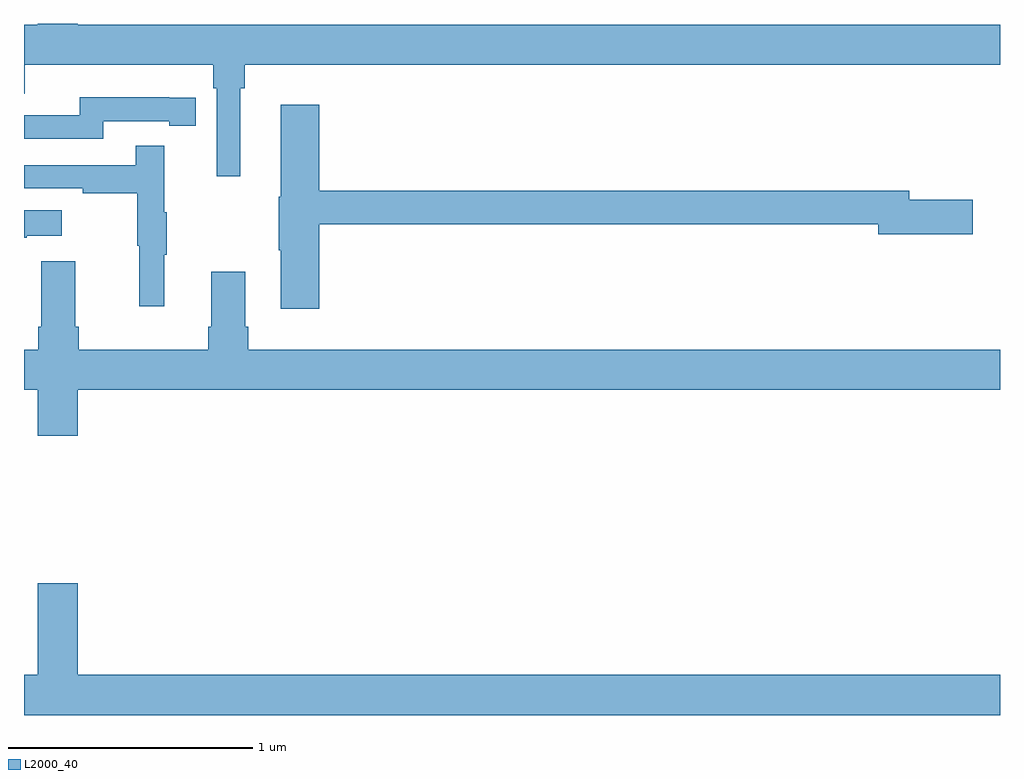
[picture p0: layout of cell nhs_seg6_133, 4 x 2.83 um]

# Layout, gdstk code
import gdstk
lib = gdstk.Library(unit=1e-6, precision=1e-09)
def P(c, l, *ps):  # polygons
    for p in ps: c.add(gdstk.Polygon(p, *l))
L2000_40 = (2000, 40)

nhs_seg6_133 = lib.new_cell('nhs_seg6_133')
P(nhs_seg6_133, L2000_40, [(117.886,951.236),(117.905,951.236),(117.905,951.332),(121,951.332),(121,951.496),(117.22,951.496),(117.22,951.5),(117.056,951.5),(117.056,951.496),(117,951.496),(117,951.215),(117.004,951.215),(117.004,951.332),(117.776,951.332),(117.776,951.236),(117.789,951.236),(117.789,950.877),(117.886,950.877)],
  [(117.324,951.102),(117.596,951.102),(117.596,951.082),(117.704,951.082),(117.704,951.198),(117.596,951.198),(117.596,951.199),(117.228,951.199),(117.228,951.126),(117,951.126),(117,951.03),(117.324,951.03)],
  [(118.211,950.68),(120.5,950.68),(120.5,950.638),(120.889,950.638),(120.889,950.78),(120.628,950.78),(120.628,950.816),(118.211,950.816),(118.211,951.169),(118.052,951.169),(118.052,950.793),(118.045,950.793),(118.045,950.572),(118.052,950.572),(118.052,950.334),(118.211,950.334)],
  [(117.575,950.555),(117.586,950.555),(117.586,950.729),(117.575,950.729),(117.575,951.001),(117.457,951.001),(117.457,950.922),(117,950.922),(117,950.826),(117.241,950.826),(117.241,950.806),(117.465,950.806),(117.465,950.592),(117.472,950.592),(117.472,950.343),(117.575,950.343)],
  [(117.011,950.633),(117.154,950.633),(117.154,950.737),(117,950.737),(117,950.623),(117.011,950.623)],
  [(117.22,950),(121,950),(121,950.164),(117.92,950.164),(117.92,950.26),(117.907,950.26),(117.907,950.485),(117.767,950.485),(117.767,950.26),(117.755,950.26),(117.755,950.164),(117.224,950.164),(117.224,950.26),(117.211,950.26),(117.211,950.527),(117.071,950.527),(117.071,950.26),(117.059,950.26),(117.059,950.164),(117,950.164),(117,950),(117.056,950),(117.056,949.812),(117.22,949.812)],
  [(121,948.832),(117.22,948.832),(117.22,949.207),(117.056,949.207),(117.056,948.832),(117,948.832),(117,948.668),(121,948.668)])

lib.write_gds('nhs_seg6_133.gds')
